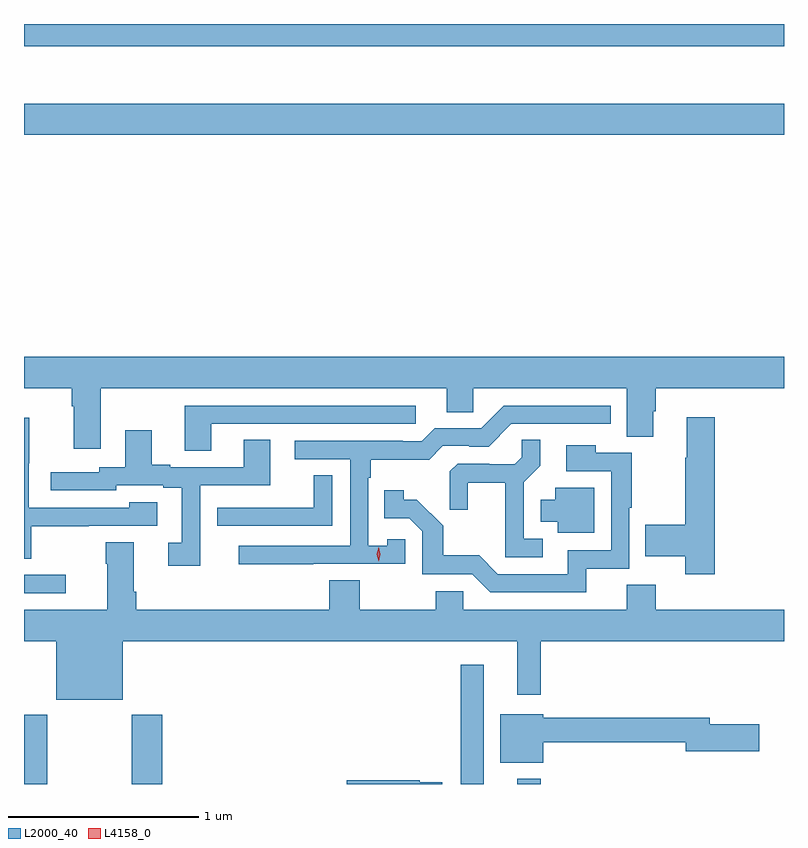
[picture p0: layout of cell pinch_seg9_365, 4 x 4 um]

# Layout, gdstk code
import gdstk
lib = gdstk.Library(unit=1e-6, precision=1e-09)
def R(c, l, rs):  # rectangles x0, y0, x1, y1
    for r in rs: c.add(gdstk.rectangle(r[:2], r[2:], *l))
def P(c, l, *ps):  # polygons
    for p in ps: c.add(gdstk.Polygon(p, *l))
L2000_40 = (2000, 40)
L4158_0 = (4158, 0)

pinch_seg9_365 = lib.new_cell('pinch_seg9_365')
R(pinch_seg9_365, L2000_40, [(381.642,1242.288,381.765,1242.652), (382.21,1242.288,382.37,1242.652), (383.94,1242.288,384.061,1242.916), (384.239,1242.288,384.361,1242.316), (381.642,1243.293,381.862,1243.389), (381.642,1245.704,385.642,1245.868), (381.642,1246.17,385.642,1246.288)])
P(pinch_seg9_365, L2000_40, [(382.045,1244.372),(383.867,1244.372),(383.867,1244.245),(384.006,1244.245),(384.006,1244.372),(384.815,1244.372),(384.815,1244.116),(384.955,1244.116),(384.955,1244.25),(384.968,1244.25),(384.968,1244.372),(385.642,1244.372),(385.642,1244.536),(381.642,1244.536),(381.642,1244.372),(381.893,1244.372),(381.893,1244.276),(381.905,1244.276),(381.905,1244.052),(382.045,1244.052)],
  [(383.165,1243.446),(383.649,1243.446),(383.649,1243.575),(383.553,1243.575),(383.553,1243.543),(383.454,1243.543),(383.454,1243.901),(383.467,1243.901),(383.467,1243.994),(383.774,1243.994),(383.847,1244.067),(383.986,1244.067),(383.986,1244.064),(384.087,1244.064),(384.207,1244.184),(384.73,1244.184),(384.73,1244.28),(384.168,1244.28),(384.048,1244.16),(383.805,1244.16),(383.736,1244.091),(383.636,1244.091),(383.636,1244.094),(383.067,1244.094),(383.067,1243.998),(383.358,1243.998),(383.358,1243.542),(382.773,1243.542),(382.773,1243.444),(383.165,1243.444)],
  [(382.627,1244.184),(383.704,1244.184),(383.704,1244.28),(382.487,1244.28),(382.487,1244.041),(382.627,1244.041)],
  [(385.277,1244.218),(385.13,1244.218),(385.13,1244.005),(385.123,1244.005),(385.123,1243.653),(384.913,1243.653),(384.913,1243.487),(385.123,1243.487),(385.123,1243.392),(385.277,1243.392)],
  [(381.679,1243.645),(381.983,1243.645),(381.983,1243.647),(382.342,1243.647),(382.342,1243.771),(382.197,1243.771),(382.197,1243.743),(381.666,1243.743),(381.666,1243.976),(381.669,1243.976),(381.669,1244.215),(381.642,1244.215),(381.642,1243.474),(381.679,1243.474)],
  [(382.569,1243.86),(382.939,1243.86),(382.939,1244.099),(382.799,1244.099),(382.799,1243.956),(382.411,1243.956),(382.411,1243.969),(382.315,1243.969),(382.315,1244.149),(382.175,1244.149),(382.175,1243.956),(382.038,1243.956),(382.038,1243.929),(381.783,1243.929),(381.783,1243.833),(382.128,1243.833),(382.128,1243.86),(382.376,1243.86),(382.376,1243.848),(382.472,1243.848),(382.472,1243.557),(382.401,1243.557),(382.401,1243.437),(382.569,1243.437)],
  [(384.373,1243.578),(384.273,1243.578),(384.273,1243.877),(384.359,1243.963),(384.359,1244.099),(384.261,1244.099),(384.261,1244.008),(384.224,1243.971),(384.09,1243.971),(384.09,1243.974),(383.925,1243.974),(383.884,1243.933),(383.884,1243.731),(383.978,1243.731),(383.978,1243.874),(384.176,1243.874),(384.176,1243.482),(384.373,1243.482)],
  [(384.602,1243.422),(384.828,1243.422),(384.828,1243.741),(384.841,1243.741),(384.841,1244.031),(384.651,1244.031),(384.651,1244.071),(384.495,1244.071),(384.495,1243.935),(384.732,1243.935),(384.732,1243.518),(384.503,1243.518),(384.503,1243.392),(384.135,1243.392),(384.037,1243.491),(383.848,1243.491),(383.848,1243.646),(383.71,1243.784),(383.64,1243.784),(383.64,1243.834),(383.539,1243.834),(383.539,1243.686),(383.67,1243.686),(383.739,1243.617),(383.739,1243.392),(384,1243.392),(384.096,1243.296),(384.602,1243.296)],
  [(383.265,1243.913),(383.167,1243.913),(383.167,1243.743),(382.771,1243.743),(382.771,1243.742),(382.659,1243.742),(382.659,1243.647),(383.265,1243.647)],
  [(384.643,1243.846),(384.437,1243.846),(384.437,1243.783),(384.362,1243.783),(384.362,1243.667),(384.452,1243.667),(384.452,1243.61),(384.643,1243.61)],
  [(382.162,1243.04),(384.239,1243.04),(384.239,1242.759),(384.361,1242.759),(384.361,1243.04),(385.642,1243.04),(385.642,1243.204),(384.968,1243.204),(384.968,1243.337),(384.815,1243.337),(384.815,1243.204),(383.955,1243.204),(383.955,1243.302),(383.809,1243.302),(383.809,1243.204),(383.409,1243.204),(383.409,1243.361),(383.249,1243.361),(383.249,1243.204),(382.232,1243.204),(382.232,1243.3),(382.219,1243.3),(382.219,1243.561),(382.072,1243.561),(382.072,1243.448),(382.079,1243.448),(382.079,1243.204),(381.642,1243.204),(381.642,1243.04),(381.812,1243.04),(381.812,1242.731),(382.162,1242.731)],
  [(384.376,1242.508),(385.124,1242.508),(385.124,1242.461),(385.513,1242.461),(385.513,1242.603),(385.252,1242.603),(385.252,1242.637),(384.376,1242.637),(384.376,1242.655),(384.149,1242.655),(384.149,1242.401),(384.376,1242.401)],
  [(383.843,1242.296),(383.724,1242.296),(383.724,1242.308),(383.34,1242.308),(383.34,1242.288),(383.843,1242.288)])
P(pinch_seg9_365, L4158_0, [(383.508,1243.461),(383.508,1243.461),(383.498,1243.497),(383.508,1243.533),(383.508,1243.533),(383.508,1243.533),(383.518,1243.497),(383.508,1243.461)])

lib.write_gds('pinch_seg9_365.gds')
